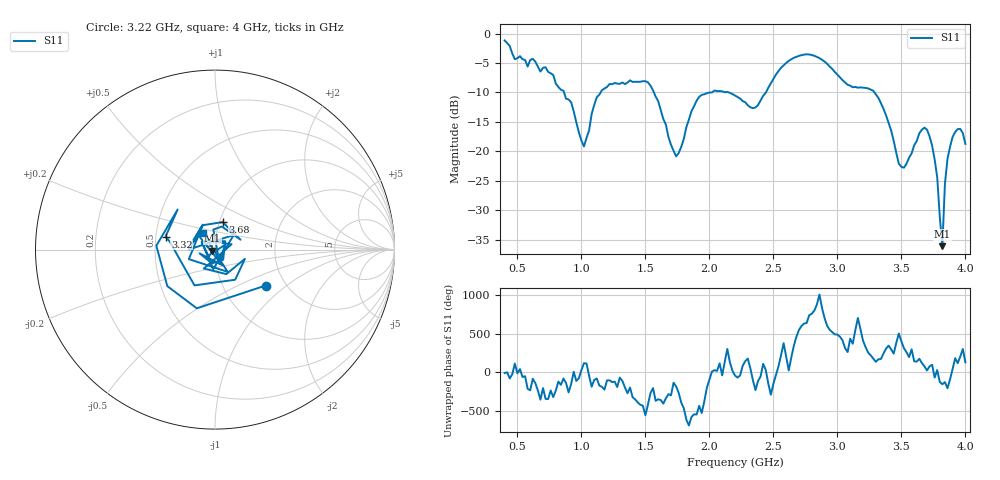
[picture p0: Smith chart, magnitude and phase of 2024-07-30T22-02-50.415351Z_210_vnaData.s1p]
!Created with skrf (http://scikit-rf.org).
# Hz S RI R 50.0
!freq ReS11 ImS11
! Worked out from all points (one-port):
!   181 points, 400 MHz to 4 GHz, reference 50 ohm
!   lowest |S11| = -36.1 dB at 3.82 GHz (marker M1), VSWR 1.03, Z = 48.6 - j0.564 ohm
!   |S11| at or under -10 dB: 1.567 GHz to 2.005 GHz (438.3 MHz wide, 24.5 % of centre); 2.153 GHz to 2.441 GHz (288.6 MHz wide, 12.6 % of centre); 3.29 GHz to end of sweep (the widest 3 of 4)
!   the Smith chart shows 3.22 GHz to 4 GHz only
!   S11 on the Smith chart (normalised r, x): 3.22 GHz: 1.58, -0.72; 3.32 GHz: 0.56, +0.09; 3.68 GHz: 1.04, +0.33; 4 GHz: 0.86, +0.16
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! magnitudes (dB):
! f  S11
! 400 MHz  -1.2
! 480 MHz  -4.3
! 620 MHz  -4.3
! 860 MHz  -9.7
! 1.02 GHz  -19.2
! 1.12 GHz  -10.8
! 1.3 GHz  -8.5
! 1.52 GHz  -8.3
! 1.72 GHz  -19.9
! 1.76 GHz  -20.3
! 1.92 GHz  -10.7
! 2.2 GHz  -10.5
! 2.36 GHz  -12.5
! 2.66 GHz  -4.1
! 2.86 GHz  -4.2
! 3.1 GHz  -8.8
! 3.22 GHz  -9.2
! 3.32 GHz  -10.9
! 3.48 GHz  -22.1
! 3.56 GHz  -21.1
! 3.68 GHz  -16.0
! 3.76 GHz  -21.4
! 3.78 GHz  -24.4
! 3.82 GHz  -36.1
! 3.84 GHz  -25.5
! 3.88 GHz  -19.2
! 3.94 GHz  -16.2
! 4 GHz  -18.7
